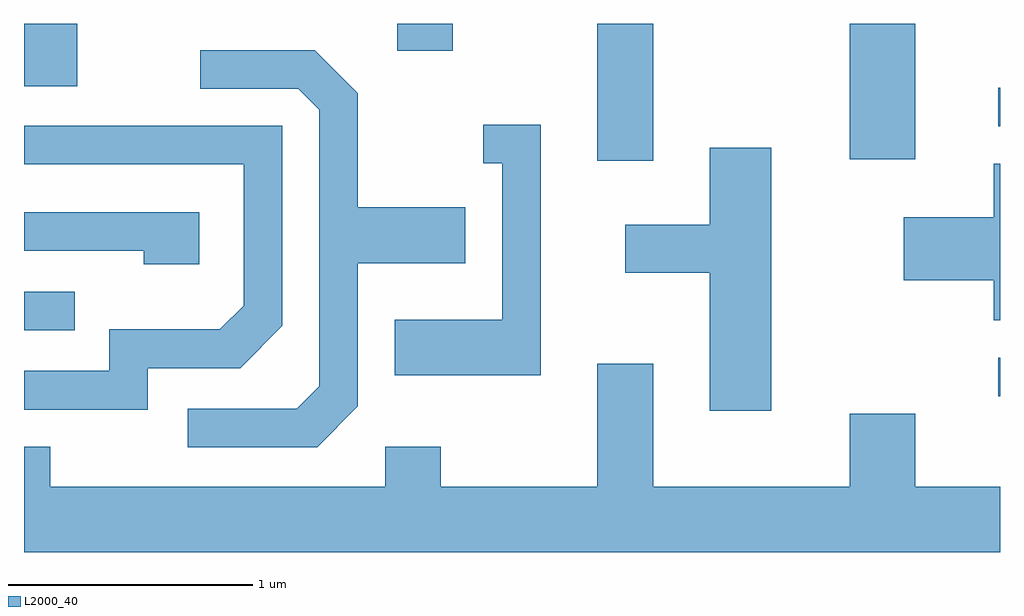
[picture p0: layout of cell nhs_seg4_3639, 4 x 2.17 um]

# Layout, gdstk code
import gdstk
lib = gdstk.Library(unit=1e-6, precision=1e-09)
def R(c, l, rs):  # rectangles x0, y0, x1, y1
    for r in rs: c.add(gdstk.rectangle(r[:2], r[2:], *l))
def P(c, l, *ps):  # polygons
    for p in ps: c.add(gdstk.Polygon(p, *l))
L2000_40 = (2000, 40)

nhs_seg4_3639 = lib.new_cell('nhs_seg4_3639')
R(nhs_seg4_3639, L2000_40, [(295.603,1326.456,295.611,1326.614), (291.611,1326.726,291.818,1326.884), (293.961,1327.421,294.189,1327.982), (294.996,1327.426,295.264,1327.982), (295.603,1327.561,295.611,1327.719), (291.611,1327.726,291.829,1327.982), (293.141,1327.871,293.369,1327.982)])
P(nhs_seg4_3639, L2000_40, [(292.979,1326.414),(292.979,1327.001),(293.419,1327.001),(293.419,1327.229),(292.979,1327.229),(292.979,1327.697),(292.802,1327.874),(292.333,1327.874),(292.333,1327.716),(292.734,1327.716),(292.821,1327.629),(292.821,1326.497),(292.729,1326.404),(292.283,1326.404),(292.283,1326.246),(292.812,1326.246)],
  [(293.729,1327.569),(293.493,1327.569),(293.493,1327.411),(293.571,1327.411),(293.571,1326.769),(293.131,1326.769),(293.131,1326.541),(293.729,1326.541)],
  [(292.119,1326.571),(292.497,1326.571),(292.669,1326.744),(292.669,1327.564),(291.611,1327.564),(291.611,1327.406),(292.511,1327.406),(292.511,1326.827),(292.414,1326.729),(291.961,1326.729),(291.961,1326.559),(291.611,1326.559),(291.611,1326.401),(292.119,1326.401)],
  [(294.674,1327.474),(294.421,1327.474),(294.421,1327.159),(294.076,1327.159),(294.076,1326.961),(294.421,1326.961),(294.421,1326.396),(294.674,1326.396)],
  [(295.611,1327.409),(295.586,1327.409),(295.586,1327.189),(295.216,1327.189),(295.216,1326.931),(295.586,1326.931),(295.586,1326.766),(295.611,1326.766)],
  [(292.329,1327.209),(291.611,1327.209),(291.611,1327.051),(292.101,1327.051),(292.101,1326.996),(292.329,1326.996)],
  [(295.611,1326.084),(295.264,1326.084),(295.264,1326.384),(294.996,1326.384),(294.996,1326.084),(294.189,1326.084),(294.189,1326.589),(293.961,1326.589),(293.961,1326.084),(293.319,1326.084),(293.319,1326.249),(293.091,1326.249),(293.091,1326.084),(291.719,1326.084),(291.719,1326.249),(291.611,1326.249),(291.611,1325.816),(295.611,1325.816)])

lib.write_gds('nhs_seg4_3639.gds')
